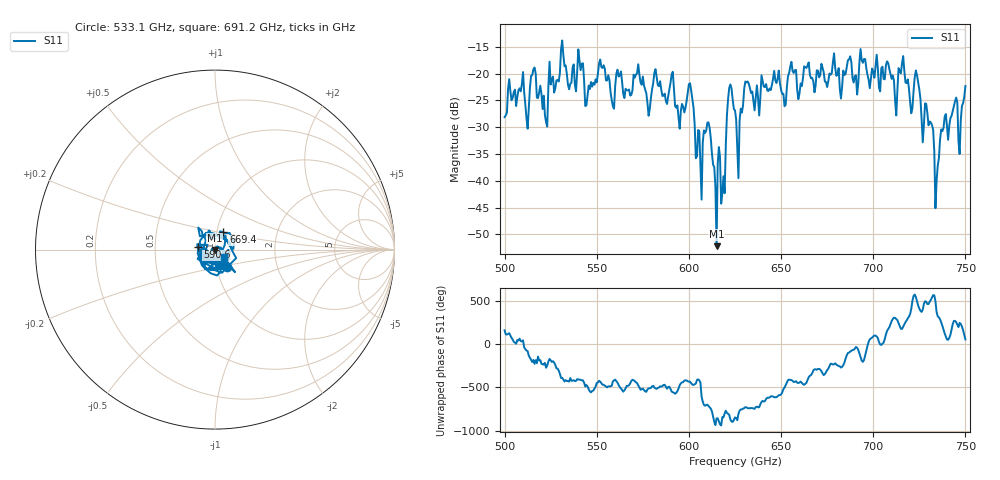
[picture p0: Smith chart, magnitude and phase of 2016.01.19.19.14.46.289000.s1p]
!Created with skrf (http://scikit-rf.org).
# GHz S RI R 50.0
!freq ReS11 ImS11
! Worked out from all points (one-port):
!   401 points, 500 GHz to 750 GHz, reference 50 ohm
!   lowest |S11| = -52.2 dB at 615 GHz (marker M1), VSWR 1.00, Z = 49.8 - j0.16 ohm
!   |S11| at or under -10 dB: start of sweep to end of sweep
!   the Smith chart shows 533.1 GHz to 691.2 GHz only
!   S11 on the Smith chart (normalised r, x): 533.1 GHz: 1.12, -0.22; 590.6 GHz: 0.82, +0.02; 669.4 GHz: 1.08, +0.21; 691.2 GHz: 1.10, -0.09
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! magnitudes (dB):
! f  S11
! 500 GHz  -28.1
! 508.8 GHz  -23.3
! 512.5 GHz  -30.3
! 515.6 GHz  -19.2
! 521.9 GHz  -27.8
! 531.2 GHz  -13.8
! 533.1 GHz  -18.5
! 562.5 GHz  -20.3
! 578.1 GHz  -27.9
! 590.6 GHz  -20.2
! 593.8 GHz  -25.9
! 600.6 GHz  -21.8
! 605.6 GHz  -30.7
! 610.6 GHz  -29.1
! 615 GHz  -52.2
! 618.8 GHz  -39.1
! 621.9 GHz  -22.6
! 625 GHz  -26.9
! 656.2 GHz  -19.6
! 669.4 GHz  -19.4
! 687.5 GHz  -16.8
! 691.2 GHz  -23.9
! 718.8 GHz  -21.1
! 723.8 GHz  -20.3
! 734.4 GHz  -40.0
! 738.1 GHz  -30.2
! 747.5 GHz  -28.7
! 750 GHz  -22.3
